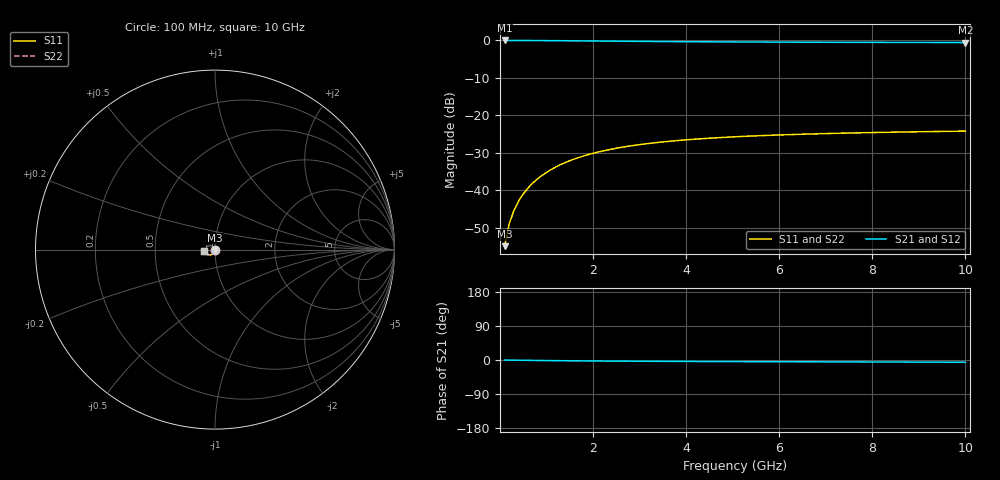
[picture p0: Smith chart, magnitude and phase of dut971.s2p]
! Touchstone file exported from HFSS 2024.1.0
!  File:  C:/UserFiles/LocalFiles/RDL_TSV_Batchsim/temp_TSV1_971_1779951257.aedt
!  Generated:  02:59:33 PM May 28, 2026
!  Design:  TSV1
!  Project:  temp_TSV1_971_1779951257
!  Setup:  Setup1
!  Solution:  Sweep
! Variables:
!  dtsv = 12.83um
!  hbump = 3um
!  htsv = 92.08um
!  lrdl = 252.1521522um
!  p = 40
!  p1 = 52.42um
!  t = 500um
!  trdl = 3um
!  wrdl = 24.89489489um
# GHz S MA R 50.000000
! Terminal data exported
! Port[1] = TSV22_T1
! Port[2] = TSV22_T2
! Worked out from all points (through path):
!   100 points, 100 MHz to 10 GHz, reference 50 ohm
!   highest |S21| = 0.00 dB at 100 MHz (marker M1); lowest = -0.6 dB at 10 GHz (marker M2)
!   lowest |S11| = -54.9 dB at 100 MHz (marker M3), VSWR 1.00, Z = 50 - j0.18 ohm
!   |S11| at or under -10 dB: start of sweep to end of sweep
!   |S22| runs from -54.9 to -24.2 dB; largest |S21 - S12| = 8.3e-15
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0.1  0.001804 -88.6  0.9998 -0.2  0.9998 -0.2  0.001804 -88.6
! Gamma 0 0 0 0
! Port Impedance 50 0 50 0
0.2  0.003603 -91.8  0.9997 -0.3  0.9997 -0.3  0.003603 -91.8
0.3  0.0054 -94.1  0.9994 -0.5  0.9994 -0.5  0.0054 -94.1
0.4  0.007189 -96.1  0.9989 -0.6  0.9989 -0.6  0.007189 -96.1
0.5  0.008961 -98.0  0.9984 -0.8  0.9984 -0.8  0.008961 -98.0
0.6  0.01071 -99.9  0.9978 -0.9  0.9978 -0.9  0.01071 -99.9
0.7  0.01244 -101.7  0.9972 -1.1  0.9972 -1.1  0.01244 -101.7
0.8  0.01413 -103.5  0.9964 -1.2  0.9964 -1.2  0.01413 -103.5
0.9  0.01579 -105.2  0.9956 -1.3  0.9956 -1.3  0.01579 -105.2
1.1  0.01899 -108.6  0.9937 -1.6  0.9937 -1.6  0.01899 -108.6
1.4  0.02347 -113.5  0.9905 -2.0  0.9905 -2.0  0.02347 -113.5
1.6  0.02624 -116.5  0.9882 -2.2  0.9882 -2.2  0.02624 -116.5
1.8  0.02882 -119.4  0.9858 -2.4  0.9858 -2.4  0.02882 -119.4
2.1  0.03236 -123.5  0.9822 -2.7  0.9822 -2.7  0.03236 -123.5
2.5  0.03648 -128.4  0.9775 -3.0  0.9775 -3.0  0.03648 -128.4
2.9  0.04 -132.8  0.9731 -3.2  0.9731 -3.2  0.04 -132.8
3.4  0.04367 -137.7  0.968 -3.5  0.968 -3.5  0.04367 -137.7
4.2  0.04826 -144.4  0.9611 -3.9  0.9611 -3.9  0.04826 -144.4
5.1  0.05206 -150.5  0.955 -4.2  0.955 -4.2  0.05206 -150.5
6.7  0.05662 -159.0  0.9472 -4.8  0.9472 -4.8  0.05662 -159.0
8.4  0.05972 -165.9  0.9418 -5.3  0.9418 -5.3  0.05972 -165.9
10  0.06174 -171.3  0.9383 -5.9  0.9383 -5.9  0.06174 -171.3
